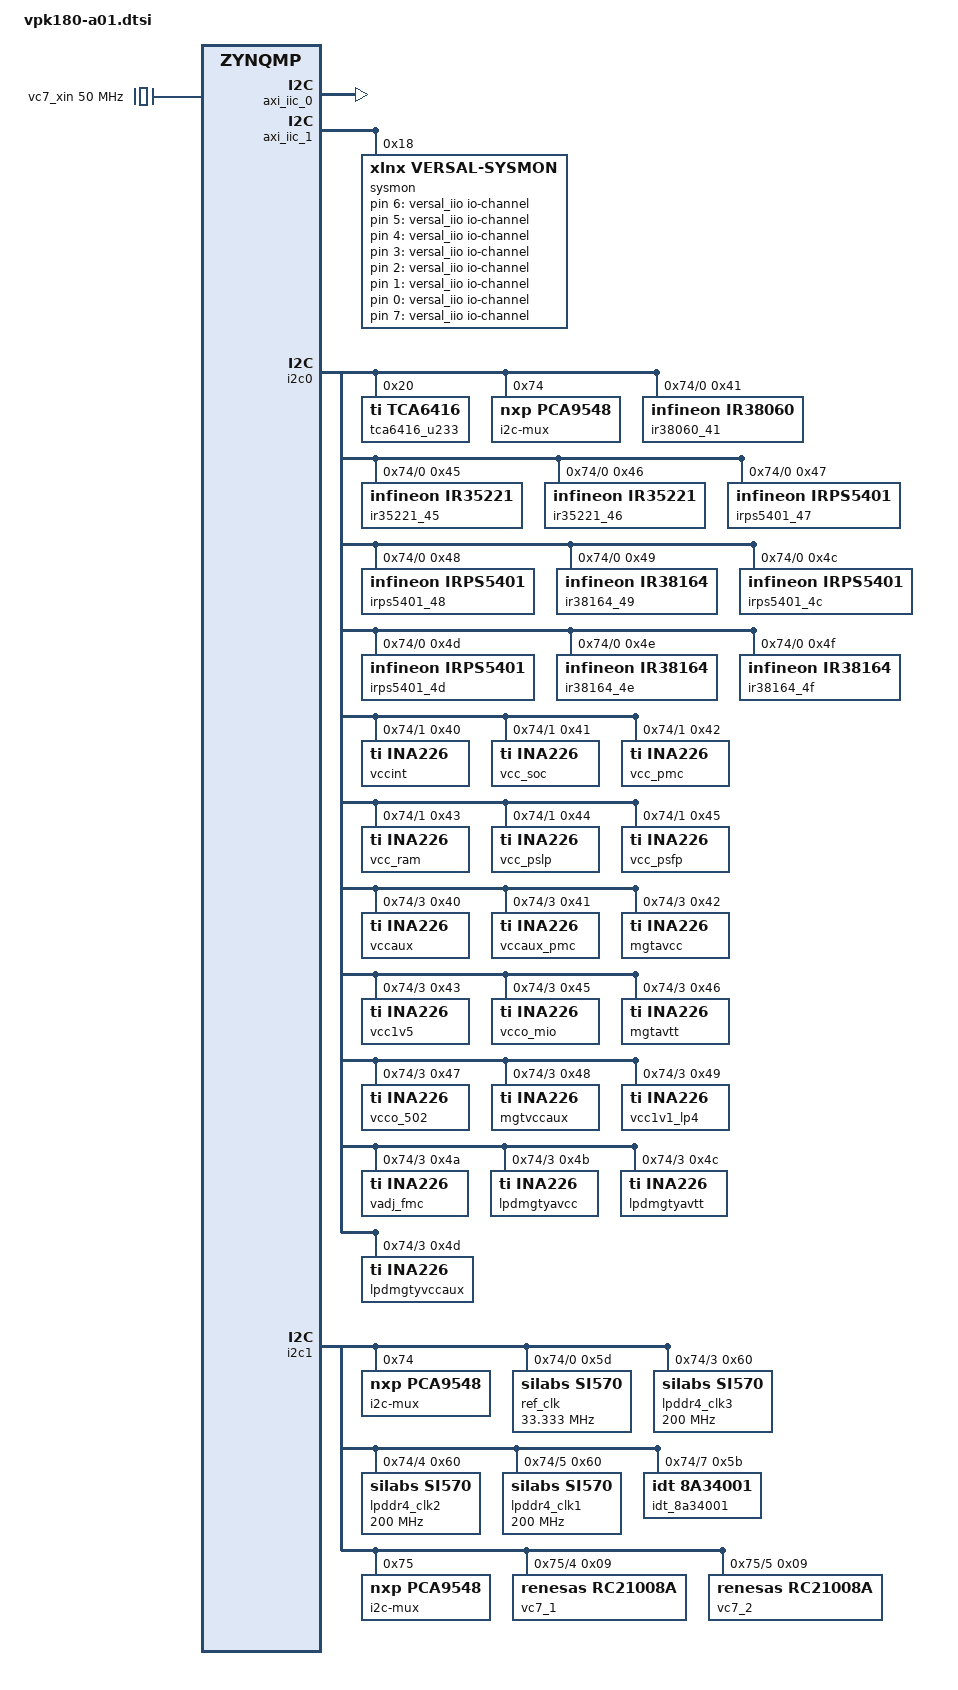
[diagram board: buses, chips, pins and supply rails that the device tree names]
// SPDX-License-Identifier: GPL-2.0
/*
 * dts file for Xilinx ZynqMP VPK180 revA
 *
 * (C) Copyright 2021 - 2022, Xilinx, Inc.
 *
 */

/dts-v1/;
/plugin/;
/ {
	compatible = "xlnx,zynqmp-sc-vpk180-revA", "xlnx,zynqmp-vpk180-revA",
		     "xlnx,zynqmp-sc-vpk180-revB", "xlnx,zynqmp-vpk180-revB",
		     "xlnx,zynqmp-vpk180", "xlnx,zynqmp";
			 
	fragment@0 {
		target = <&fpga_full>;
		overlay0: __overlay__ {
			#address-cells = <2>;
			#size-cells = <2>;
			firmware-name = "vpk180-a01.bit.bin";
			resets = <&zynqmp_reset 116>;
		};
	};
	fragment@1 {
		target = <&amba>;
		overlay1: __overlay__ {
			afi0: afi0 {
				compatible = "xlnx,afi-fpga";
				config-afi = < 0 0>, <1 0>, <2 0>, <3 0>, <4 0>, <5 0>, <6 0>, <7 0>, <8 0>, <9 0>, <10 0>, <11 0>, <12 0>, <13 0>, <14 0xa00>, <15 0x000>;
			};
			clocking0: clocking0 {
				#clock-cells = <0>;
				assigned-clock-rates = <96968727>;
				assigned-clocks = <&zynqmp_clk 71>;
				clock-output-names = "fabric_clk";
				clocks = <&zynqmp_clk 71>;
				compatible = "xlnx,fclk";
			};
			clocking1: clocking1 {
				#clock-cells = <0>;
				assigned-clock-rates = <266664000>;
				assigned-clocks = <&zynqmp_clk 72>;
				clock-output-names = "fabric_clk";
				clocks = <&zynqmp_clk 72>;
				compatible = "xlnx,fclk";
			};
		};
	};
	fragment@2 {
		target = <&amba>;
		overlay2: __overlay__ {
			#address-cells = <2>;
			#size-cells = <2>;
			axi_gpio_0: gpio@80020000 {
				#gpio-cells = <2>;
				#interrupt-cells = <2>;
				clock-names = "s_axi_aclk";
				clocks = <&zynqmp_clk 71>;
				compatible = "xlnx,axi-gpio-2.0", "xlnx,xps-gpio-1.00.a";
				gpio-controller ;
				interrupt-controller ;
				interrupt-names = "ip2intc_irpt";
				interrupt-parent = <&gic>;
				interrupts = <0 94 4>;
				reg = <0x0 0x80020000 0x0 0x10000>;
				xlnx,all-inputs = <0x0>;
				xlnx,all-inputs-2 = <0x0>;
				xlnx,all-outputs = <0x0>;
				xlnx,all-outputs-2 = <0x0>;
				xlnx,dout-default = <0x00000000>;
				xlnx,dout-default-2 = <0x00000000>;
				xlnx,gpio-width = <0x12>;
				xlnx,gpio2-width = <0x20>;
				xlnx,interrupt-present = <0x1>;
				xlnx,is-dual = <0x0>;
				xlnx,tri-default = <0xFFFFFFFF>;
				xlnx,tri-default-2 = <0xFFFFFFFF>;
				gpio-line-names = "SYSCTLR_GPIO0", "SYSCTLR_GPIO1", "SYSCTLR_GPIO2",	/* 0 - 2 */
				"SYSCTLR_GPIO3", "SYSCTLR_GPIO4", "SYSCTLR_GPIO5",	/* 3 - 5 */
				"SYSCTLR_GPIO6", "SYSCTLR_GPIO7", "SYSCTLR_GPIO8",	/* 6 - 8 */
				"SYSCTLR_GPIO9", "SYSCTLR_GPIO10", "SYSCTLR_GPIO11",	/* 9 - 11 */
				"SYSCTLR_GPIO12", "SYSCTLR_GPIO13", "SYSCTLR_GPIO14",	/* 12 - 14 */
				"SYSCTLR_GPIO15", "SYSCTLR_IIC_MUX1_RESET_B",		/* 15 - 16 */
				"SYSCTLR_IIC_MUX0_RESET_B";				/* 17 */
			};
			axi_gpio_1: gpio@80030000 {
				#gpio-cells = <2>;
				#interrupt-cells = <2>;
				clock-names = "s_axi_aclk";
				clocks = <&zynqmp_clk 71>;
				compatible = "xlnx,axi-gpio-2.0", "xlnx,xps-gpio-1.00.a";
				gpio-controller ;
				interrupt-controller ;
				interrupt-names = "ip2intc_irpt";
				interrupt-parent = <&gic>;
				interrupts = <0 96 4>;
				reg = <0x0 0x80030000 0x0 0x10000>;
				xlnx,all-inputs = <0x0>;
				xlnx,all-inputs-2 = <0x0>;
				xlnx,all-outputs = <0x0>;
				xlnx,all-outputs-2 = <0x0>;
				xlnx,dout-default = <0x00000000>;
				xlnx,dout-default-2 = <0x00000000>;
				xlnx,gpio-width = <0x3>;
				xlnx,gpio2-width = <0x20>;
				xlnx,interrupt-present = <0x1>;
				xlnx,is-dual = <0x0>;
				xlnx,tri-default = <0xFFFFFFFF>;
				xlnx,tri-default-2 = <0xFFFFFFFF>;
				gpio-line-names = "PMBUS2_INA226_ALERT", "PMBUS1_INA226_ALERT",	/* 0 - 1 */
				"PMBUS_ALERT";						/* 2 */
			};
			axi_gpio_2: gpio@80040000 {
				#gpio-cells = <2>;
				#interrupt-cells = <2>;
				clock-names = "s_axi_aclk";
				clocks = <&zynqmp_clk 71>;
				compatible = "xlnx,axi-gpio-2.0", "xlnx,xps-gpio-1.00.a";
				gpio-controller ;
				interrupt-controller ;
				interrupt-names = "ip2intc_irpt";
				interrupt-parent = <&gic>;
				interrupts = <0 95 4>;
				reg = <0x0 0x80040000 0x0 0x10000>;
				xlnx,all-inputs = <0x0>;
				xlnx,all-inputs-2 = <0x0>;
				xlnx,all-outputs = <0x0>;
				xlnx,all-outputs-2 = <0x0>;
				xlnx,dout-default = <0x00000000>;
				xlnx,dout-default-2 = <0x00000000>;
				xlnx,gpio-width = <0xd>;
				xlnx,gpio2-width = <0x20>;
				xlnx,interrupt-present = <0x1>;
				xlnx,is-dual = <0x0>;
				xlnx,tri-default = <0xFFFFFFFF>;
				xlnx,tri-default-2 = <0xFFFFFFFF>;
				gpio-line-names = "SYSCTLR_JTAG_S1", "SYSCTLR_JTAG_S0",		/* 0 - 1 */
				"SYSCTLR_VERSAL_MODE3", "SYSCTLR_VERSAL_MODE2",		/* 2 - 3 */
				"SYSCTLR_VERSAL_MODE1", "SYSCTLR_VERSAL_MODE0",		/* 4 - 5 */
				"SYSCTLR_POR_B_LS", "SYSCTLR_VERSAL_MODE3_READBACK",	/* 6 - 7 */
				"SYSCTLR_VERSAL_MODE2_READBACK", "SYSCTLR_VERSAL_MODE1_READBACK",	/* 8 - 9 */
				"SYSCTLR_VERSAL_MODE0_READBACK", "SYSCTLR_VERSAL_POR_B_READBACK",	/* 10 - 11 */
				"VERSAL_ERROR_OUT_LS";					/* 12 */
			};
			axi_iic_0: i2c@80050000 {
				#address-cells = <1>;
				#size-cells = <0>;
				clock-names = "s_axi_aclk";
				clocks = <&zynqmp_clk 71>;
				compatible = "xlnx,axi-iic-2.1", "xlnx,xps-iic-2.00.a";
				interrupt-names = "iic2intc_irpt";
				interrupt-parent = <&gic>;
				interrupts = <0 91 4>;
				reg = <0x0 0x80050000 0x0 0x10000>;
			};
			axi_iic_1: i2c@80060000 {
				#address-cells = <1>;
				#size-cells = <0>;
				clock-names = "s_axi_aclk";
				clocks = <&zynqmp_clk 71>;
				compatible = "xlnx,axi-iic-2.1", "xlnx,xps-iic-2.00.a";
				interrupt-names = "iic2intc_irpt";
				interrupt-parent = <&gic>;
				interrupts = <0 92 4>;
				reg = <0x0 0x80060000 0x0 0x10000>;
				sysmon: i2c@18 {
					#address-cells = <1>;
					#size-cells = <0>;
					compatible = "xlnx,versal-sysmon";
					reg = <0x18>;
					xlnx,numchannels = [07];
					status = "okay";
					#io-channel-cells = <1>;
					xlnx,scaledint;
					supply@0 {
						reg = <0>;
						xlnx,name = "vccaux";
					};
					supply@1 {
						reg = <1>;
						xlnx,name = "vccaux_pmc";
					};
					supply@2 {
						reg = <2>;
						xlnx,name = "vcc_pmc";
					};
					supply@3 {
						reg = <3>;
						xlnx,name = "vcc_psfp";
					};
					supply@4 {
						reg = <4>;
						xlnx,name = "vcc_pslp";
					};
					supply@5 {
						reg = <5>;
						xlnx,name = "vcc_soc";
					};
					supply@6 {
						reg = <6>;
						xlnx,name = "vp_vn";
					};
				};
			};
			debug_bridge_0: debug_bridge@80010000 {
				clock-names = "s_axi_aclk";
				clocks = <&zynqmp_clk 71>;
				compatible = "xlnx,debug-bridge-3.0", "generic-uio";
				reg = <0x0 0x80010000 0x0 0x10000>;
				xlnx,bscan-mux = <0x1>;
				xlnx,build-revision = <0x0>;
				xlnx,chip-id = <0x0>;
				xlnx,clk-input-freq-hz = <0x11e1a300>;
				xlnx,core-major-ver = <0x1>;
				xlnx,core-minor-alpha-ver = <0x61>;
				xlnx,core-minor-ver = <0x0>;
				xlnx,core-type = <0x1>;
				xlnx,dclk-has-reset = <0x0>;
				xlnx,debug-mode = <0x3>;
				xlnx,design-type = <0x0>;
				xlnx,device-family = <0x0>;
				xlnx,en-bscanid-vec = "false";
				xlnx,en-int-sim = <0x1>;
				xlnx,en-passthrough = <0x0>;
				xlnx,enable-clk-divider = "false";
				xlnx,fifo-style = "SUBCORE";
				xlnx,ir-id-instr = <0x0>;
				xlnx,ir-user1-instr = <0x0>;
				xlnx,ir-width = <0x0>;
				xlnx,major-version = <0xe>;
				xlnx,master-intf-type = <0x1>;
				xlnx,minor-version = <0x1>;
				xlnx,num-bs-master = <0x0>;
				xlnx,pcie-ext-cfg-base-addr = <0x400>;
				xlnx,pcie-ext-cfg-next-ptr = <0x000>;
				xlnx,pcie-ext-cfg-vsec-id = <0x0008>;
				xlnx,pcie-ext-cfg-vsec-length = <0x020>;
				xlnx,pcie-ext-cfg-vsec-rev-id = <0x0>;
				xlnx,tck-clock-ratio = <0x8>;
				xlnx,two-prim-mode = "false";
				xlnx,use-bufr = <0x0>;
				xlnx,use-ext-bscan = "true";
				xlnx,use-softbscan = <0x1>;
				xlnx,use-startup-clk = "false";
				xlnx,user-scan-chain = <0x1>;
				xlnx,xsdb-num-slaves = <0x0>;
				xlnx,xvc-hw-id = <0x0001>;
				xlnx,xvc-sw-id = <0x0001>;
			};
			fan_tach_0: fan_tach@80080000 {
				clock-names = "clk";
				clocks = <&zynqmp_clk 71>;
				compatible = "xlnx,fan-tach-1.0";
				interrupt-names = "interrupt_fan_fail", "interrupt_pwm_det";
				interrupt-parent = <&gic>;
				interrupts = <0 89 4 0 90 4>;
				reg = <0x0 0x80080000 0x0 0x1000 0x0 0x80081000 0x0 0x1000 0x0 0x80082000 0x0 0x1000>;
			};
			hsdp_axi_bram_ctrl_1: axi_bram_ctrl@a0020000 {
				clock-names = "s_axi_aclk";
				clocks = <&zynqmp_clk 72>;
				compatible = "xlnx,axi-bram-ctrl-4.1";
				reg = <0x0 0xa0020000 0x0 0x4000>;
				xlnx,bram-addr-width = <0xa>;
				xlnx,bram-inst-mode = "EXTERNAL";
				xlnx,ecc = <0x0>;
				xlnx,ecc-onoff-reset-value = <0x0>;
				xlnx,ecc-type = <0x0>;
				xlnx,fault-inject = <0x0>;
				xlnx,memory-depth = <0x400>;
				xlnx,rd-cmd-optimization = <0x0>;
				xlnx,read-latency = <0x1>;
				xlnx,s-axi-ctrl-addr-width = <0x20>;
				xlnx,s-axi-ctrl-data-width = <0x20>;
				xlnx,s-axi-id-width = <0x1>;
				xlnx,s-axi-supports-narrow-burst = <0x0>;
				xlnx,single-port-bram = <0x1>;
			};
			hsdp_axi_dma_0: dma@a0000000 {
				#dma-cells = <1>;
				clock-names = "s_axi_lite_aclk", "m_axi_sg_aclk", "m_axi_mm2s_aclk", "m_axi_s2mm_aclk";
				clocks = <&zynqmp_clk 72>, <&zynqmp_clk 72>, <&zynqmp_clk 72>, <&zynqmp_clk 72>;
				compatible = "xlnx,axi-dma-7.1", "xlnx,axi-dma-1.00.a";
				interrupt-names = "mm2s_introut", "s2mm_introut";
				interrupt-parent = <&gic>;
				interrupts = <0 104 4 0 105 4>;
				reg = <0x0 0xa0000000 0x0 0x10000>;
				xlnx,addrwidth = <0x30>;
				xlnx,include-sg ;
				xlnx,sg-length-width = <0x1a>;
				dma-channel@a0000000 {
					compatible = "xlnx,axi-dma-mm2s-channel";
					dma-channels = <0x1>;
					interrupts = <0 104 4>;
					xlnx,datawidth = <0x80>;
					xlnx,device-id = <0x0>;
				};
				dma-channel@a0000030 {
					compatible = "xlnx,axi-dma-s2mm-channel";
					dma-channels = <0x1>;
					interrupts = <0 105 4>;
					xlnx,datawidth = <0x40>;
					xlnx,device-id = <0x0>;
				};
			};
			hsdp_hsdp_ctl_stat_regs: hsdp_ctl_v1_0@a0010000 {
				clock-names = "s00_axi_hsdp_aclk";
				clocks = <&zynqmp_clk 72>;
				compatible = "xlnx,hsdp-ctl-v1-0-1.0";
				reg = <0x0 0xa0010000 0x0 0x10000>;
				xlnx,prog-empty-cnt-width = <0x20>;
				xlnx,s00-axi-hsdp-addr-width = <0x6>;
				xlnx,s00-axi-hsdp-data-width = <0x20>;
				xlnx,tlast-prog-width = <0x17>;
			};
		};
	};
	
	fragment@3 {
		  target-path = "/";
                __overlay__ {
	versal_iio: versal {
		compatible = "iio-hwmon";
		io-channels = <&sysmon 6>, <&sysmon 5>, <&sysmon 4>,
			      <&sysmon 3>, <&sysmon 2>, <&sysmon 1>,
			      <&sysmon 0>, <&sysmon 7>, <&sysmon 8>;
	};
	si570_ref_clk: si570_ref_clk {
		status = "okay";
		compatible = "xlnx,fclk";
		clocks = <&ref_clk>;
	};

	si570_lpddr4_clk3: si570_lpddr4_clk3 {
		status = "okay";
		compatible = "xlnx,fclk";
		clocks = <&lpddr4_clk3>;
	};

	si570_lpddr4_clk2: si570_lpddr4_clk2 {
		status = "okay";
		compatible = "xlnx,fclk";
		clocks = <&lpddr4_clk2>;
	};

	si570_lpddr4_clk1: si570_lpddr4_clk1 {
		status = "okay";
		compatible = "xlnx,fclk";
		clocks = <&lpddr4_clk1>;
	};

	vc7_xin: vc7-xin {
		compatible = "fixed-clock";
		#clock-cells = <0x0>;
		clock-frequency = <50000000>;
	};

	gtclk1_out0: gtclk1-out0 {
		status = "okay";
		compatible = "xlnx,fclk";
		clocks = <&vc7_1 0>;
	};

	gtclk1_out1: gtclk1-out1 {
		status = "okay";
		compatible = "xlnx,fclk";
		clocks = <&vc7_1 1>;
	};

	gtclk1_out2: gtclk1-out2 {
		status = "okay";
		compatible = "xlnx,fclk";
		clocks = <&vc7_1 2>;
	};

	gtclk1_out3: gtclk1-out3 {
		status = "okay";
		compatible = "xlnx,fclk";
		clocks = <&vc7_1 3>;
	};

	gtclk1_out4: gtclk1-out4 {
		status = "okay";
		compatible = "xlnx,fclk";
		clocks = <&vc7_1 4>;
	};

	gtclk1_out5: gtclk1-out5 {
		status = "okay";
		compatible = "xlnx,fclk";
		clocks = <&vc7_1 5>;
	};

	gtclk1_out6: gtclk1-out6 {
		status = "okay";
		compatible = "xlnx,fclk";
		clocks = <&vc7_1 6>;
	};

	gtclk1_out7: gtclk1-out7 {
		status = "okay";
		compatible = "xlnx,fclk";
		clocks = <&vc7_1 7>;
	};

	gtclk2_out0: gtclk2-out0 {
		status = "okay";
		compatible = "xlnx,fclk";
		clocks = <&vc7_2 0>;
	};

	gtclk2_out1: gtclk2-out1 {
		status = "okay";
		compatible = "xlnx,fclk";
		clocks = <&vc7_2 1>;
	};

	gtclk2_out2: gtclk2-out2 {
		status = "okay";
		compatible = "xlnx,fclk";
		clocks = <&vc7_2 2>;
	};

	gtclk2_out3: gtclk2-out3 {
		status = "okay";
		compatible = "xlnx,fclk";
		clocks = <&vc7_2 3>;
	};

	gtclk2_out4: gtclk2-out4 {
		status = "okay";
		compatible = "xlnx,fclk";
		clocks = <&vc7_2 4>;
	};

	gtclk2_out5: gtclk2-out5 {
		status = "okay";
		compatible = "xlnx,fclk";
		clocks = <&vc7_2 5>;
	};

	gtclk2_out6: gtclk2-out6 {
		status = "okay";
		compatible = "xlnx,fclk";
		clocks = <&vc7_2 6>;
	};

	gtclk2_out7: gtclk2-out7 {
		status = "okay";
		compatible = "xlnx,fclk";
		clocks = <&vc7_2 7>;
	};
};
};


	fragment@4 {
                target = <&i2c0>;
                __overlay__ {
	#address-cells = <1>;
	#size-cells = <0>;
	
	tca6416_u233: gpio@20 { /* u233 */
		compatible = "ti,tca6416";
		reg = <0x20>;
		gpio-controller; /* interrupt not connected */
		#gpio-cells = <2>;
		gpio-line-names = "QSFPDD1_MODSELL", "QSFPDD2_MODSELL", "QSFPDD3_MODSELL", "QSFPDD4_MODSELL", /* 0 - 3 */
				"PMBUS2_INA226_ALERT", "QSFPDD5_MODSELL", "QSFPDD6_MODSELL", "", /* 4 - 7 */
				"FMCP1_FMC_PRSNT_M2C_B", "", "FMCP1_FMCP_PRSNT_M2C_B", "", /* 10 - 13 */
				"VCCINT_VRHOT_B", "8A34001_EXP_RST_B", "PMBUS_ALERT", "PMBUS1_INA226_ALERT"; /* 14 - 17 */
	};

	i2c-mux@74 { /* u33 */
		compatible = "nxp,pca9548";
		#address-cells = <1>;
		#size-cells = <0>;
		reg = <0x74>;
		/* reset-gpios = <&gpio SYSCTLR_IIC_MUX0_RESET_B GPIO_ACTIVE_HIGH>; */
		pmbus_i2c: i2c@0 {
			#address-cells = <1>;
			#size-cells = <0>;
			reg = <0>;
			/* On connector J325 */
			ir38060_41: regulator@41 { /* IR38060 - u259 */
				compatible = "infineon,ir38060", "infineon,ir38064";
				reg = <0x41>; /* i2c addr 0x11 */
			};
			ir35221_45: pmic@45 { /* IR35221 - u291 */
				compatible = "infineon,ir35221";
				reg = <0x45>; /* i2c addr - 0x15 */
			};
			ir35221_46: pmic@46 { /* IR35221 - u152 */
				compatible = "infineon,ir35221";
				reg = <0x46>; /* i2c addr - 0x16 */
			};
			irps5401_47: pmic5401@47 { /* IRPS5401 - u160 */
				compatible = "infineon,irps5401";
				reg = <0x47>; /* i2c addr 0x17 */
			};
			irps5401_48: pmic@48 { /* IRPS5401 - u295 */
				compatible = "infineon,irps5401";
				reg = <0x48>; /* i2c addr 0x18 */
			};
			ir38164_49: regulator@49 { /* IR38164 - u189 */
				compatible = "infineon,ir38164";
				reg = <0x49>; /* i2c addr 0x19 */
			};
			irps5401_4c: pmic@4c { /* IRPS5401 - u167 */
				compatible = "infineon,irps5401";
				reg = <0x4c>; /* i2c addr 0x1c */
			};
			irps5401_4d: pmic@4d { /* IRPS5401 - u175 */
				compatible = "infineon,irps5401";
				reg = <0x4d>; /* i2c addr 0x1d */
			};
			ir38164_4e: regulator@4e { /* IR38164 - u185 */
				compatible = "infineon,ir38164";
				reg = <0x4e>; /* i2c addr 0x1e */
			};
			ir38164_4f: regulator@4f { /* IR38164 - u187 */
				compatible = "infineon,ir38164";
				reg = <0x4f>; /* i2c addr 0x1f */
			};
		};
		pmbus1_ina226_i2c: i2c@1 {
			#address-cells = <1>;
			#size-cells = <0>;
			reg = <1>;
			/* FIXME check alerts coming to SC */
			vccint: ina226@40 { /* u65 */
				compatible = "ti,ina226";
				reg = <0x40>;
				shunt-resistor = <5000>; /* r440 */
			};
			vcc_soc: ina226@41 { /* u161 */
				compatible = "ti,ina226";
				reg = <0x41>;
				shunt-resistor = <5000>; /* r2174 */
			};
			vcc_pmc: ina226@42 { /* u163 */
				compatible = "ti,ina226";
				reg = <0x42>;
				shunt-resistor = <5000>; /* r1214 */
			};
			vcc_ram: ina226@43 { /* u5 */
				compatible = "ti,ina226";
				reg = <0x43>;
				shunt-resistor = <5000>; /* r2108 */
			};
			vcc_pslp: ina226@44 { /* u165 */
				compatible = "ti,ina226";
				reg = <0x44>;
				shunt-resistor = <5000>; /* r1830 */
			};
			vcc_psfp: ina226@45 { /* u164 */
				compatible = "ti,ina226";
				reg = <0x45>;
				shunt-resistor = <5000>; /* r2086 */
			};
		};
		i2c@2 { /* NC */ /* FIXME maybe remove */
			#address-cells = <1>;
			#size-cells = <0>;
			reg = <2>;
		};
		pmbus2_ina226_i2c: i2c@3 {
			#address-cells = <1>;
			#size-cells = <0>;
			reg = <3>;
			/* FIXME check alerts coming to SC */
			vccaux: ina226@40 { /* u166 */
				compatible = "ti,ina226";
				reg = <0x40>;
				shunt-resistor = <2000>; /* r2109 */
			};
			vccaux_pmc: ina226@41 { /* u168 */
				compatible = "ti,ina226";
				reg = <0x41>;
				shunt-resistor = <5000>; /* r1246 */
			};
			mgtavcc: ina226@42 { /* u265 */
				compatible = "ti,ina226";
				reg = <0x42>;
				shunt-resistor = <5000>; /* r1829 */
			};
			vcc1v5: ina226@43 { /* u264 */
				compatible = "ti,ina226";
				reg = <0x43>;
				shunt-resistor = <5000>; /* r1221 */
			};
			vcco_mio: ina226@45 { /* u172 */
				compatible = "ti,ina226";
				reg = <0x45>;
				shunt-resistor = <5000>; /* r1219 */
			};
			mgtavtt: ina226@46 { /* u188 */
				compatible = "ti,ina226";
				reg = <0x46>;
				shunt-resistor = <2000>; /* r1384 */
			};
			vcco_502: ina226@47 { /* u174 */
				compatible = "ti,ina226";
				reg = <0x47>;
				shunt-resistor = <5000>; /* r1825 */
			};
			mgtvccaux: ina226@48 { /* u176 */
				compatible = "ti,ina226";
				reg = <0x48>;
				shunt-resistor = <5000>; /* r1232 */
			};
			vcc1v1_lp4: ina226@49 { /* u186 */
				compatible = "ti,ina226";
				reg = <0x49>;
				shunt-resistor = <2000>; /* r1367 */
			};
			vadj_fmc: ina226@4a { /* u184 */
				compatible = "ti,ina226";
				reg = <0x4a>;
				shunt-resistor = <2000>; /* r1350 */
			};
			lpdmgtyavcc: ina226@4b { /* u177 */
				compatible = "ti,ina226";
				reg = <0x4b>;
				shunt-resistor = <5000>; /* r2097 */
			};
			lpdmgtyavtt: ina226@4c { /* u260 */
				compatible = "ti,ina226";
				reg = <0x4c>;
				shunt-resistor = <2000>; /* r1834 */
			};
			lpdmgtyvccaux: ina226@4d { /* u234 */
				compatible = "ti,ina226";
				reg = <0x4d>;
				shunt-resistor = <5000>; /* r1679 */
			};
		};
		/* 4 - 7 unused */
	};
};
};

	fragment@5 {
                target = <&i2c1>;
                __overlay__ {
	#address-cells = <1>;
	#size-cells = <0>;

	i2c-mux@74 { /* u35 */
		compatible = "nxp,pca9548";
		#address-cells = <1>;
		#size-cells = <0>;
		reg = <0x74>;
		i2c-mux-idle-disconnect;
		/* reset-gpios = <&PL_GPIO SYSCTLR_IIC_MUX1_RESET_B GPIO_ACTIVE_HIGH>; */
		ref_clk_i2c: i2c@0 {
			#address-cells = <1>;
			#size-cells = <0>;
			reg = <0>;
			ref_clk: clock-generator@5d { /* u32 */
				#clock-cells = <0>;
				compatible = "silabs,si570";
				reg = <0x5d>;
				temperature-stability = <50>;
				factory-fout = <33333333>;
				clock-frequency = <33333333>;
				clock-output-names = "ref_clk";
				silabs,skip-recall;
			};
		};
		fmcp1_i2c: i2c@1 {
			#address-cells = <1>;
			#size-cells = <0>;
			reg = <1>;
			/* connection to Samtec J51C */
			/* expected eeprom 0x50 SE cards */
		};
		osfp_i2c: i2c@2 {
			#address-cells = <1>;
			#size-cells = <0>;
			reg = <2>;
			/* J362 connector */
		};
		lpddr4_si570_clk3_i2c: i2c@3 {
			#address-cells = <1>;
			#size-cells = <0>;
			reg = <3>;
			lpddr4_clk3: clock-generator@60 { /* u4 */
				#clock-cells = <0>;
				compatible = "silabs,si570";
				reg = <0x60>;
				temperature-stability = <50>;
				factory-fout = <200000000>;
				clock-frequency = <200000000>;
				clock-output-names = "lpddr4_clk3";
				silabs,skip-recall;
			};
			/* alternative option DNP - u305 at 0x50 */
		};
		lpddr4_si570_clk2_i2c: i2c@4 {
			#address-cells = <1>;
			#size-cells = <0>;
			reg = <4>;
			lpddr4_clk2: clock-generator@60 { /* u3 */
				#clock-cells = <0>;
				compatible = "silabs,si570";
				reg = <0x60>;
				temperature-stability = <50>;
				factory-fout = <200000000>;
				clock-frequency = <200000000>;
				clock-output-names = "lpddr4_clk2";
				silabs,skip-recall;
			};
			/* alternative option DNP - u303 at 0x50 */
		};
		lpddr4_si570_clk1_i2c: i2c@5 {
			#address-cells = <1>;
			#size-cells = <0>;
			reg = <5>;
			lpddr4_clk1: clock-generator@60 { /* u248 */
				#clock-cells = <0>;
				compatible = "silabs,si570";
				reg = <0x60>;
				temperature-stability = <50>;
				factory-fout = <200000000>;
				clock-frequency = <200000000>;
				clock-output-names = "lpddr4_clk1";
				silabs,skip-recall;
			};
			/* alternative option DNP - u301 at 0x50 */
		};
		qsfpdd_i2c: i2c@6 {
			#address-cells = <1>;
			#size-cells = <0>;
			reg = <6>;
			/* J1/J2/J355/J354/J359/J358 connectors */
		};
		idt8a34001_i2c: i2c@7 {
			#address-cells = <1>;
			#size-cells = <0>;
			reg = <7>;
			/* Via J310 connector */
			idt_8a34001: phc@5b { /* u219B */
				compatible = "idt,8a34001";
				reg = <0x5b>;
			};
		};
	};
	i2c-mux@75 { /* u322 */
		compatible = "nxp,pca9548";
		#address-cells = <1>;
		#size-cells = <0>;
		reg = <0x75>;
		i2c-mux-idle-disconnect;
		/* reset-gpios = <&PL_GPIO SYSCTLR_IIC_MUX1_RESET_B GPIO_ACTIVE_HIGH>; */
		sfpdd1_i2c: i2c@0 {
			#address-cells = <1>;
			#size-cells = <0>;
			reg = <0>;
			/* J350 sfp-dd at 0x50 */
		};
		sfpdd2_i2c: i2c@1 {
			#address-cells = <1>;
			#size-cells = <0>;
			reg = <1>;
			/* J352 sfp-dd at 0x50 */
		};
		sfpdd3_i2c: i2c@2 {
			#address-cells = <1>;
			#size-cells = <0>;
			reg = <2>;
			/* J385 sfp-dd at 0x50 */
		};
		sfpdd4_i2c: i2c@3 {
			#address-cells = <1>;
			#size-cells = <0>;
			reg = <3>;
			/* J387 sfp-dd at 0x50 */
		};
		rc21008a_gtclk1_i2c: i2c@4 {
			#address-cells = <1>;
			#size-cells = <0>;
			reg = <4>;
			vc7_1: clock-generator@9 {
				compatible = "renesas,rc21008a";
				clock-output-names = "rc21008a-0";
				reg = <0x9>;
				#clock-cells = <1>;
				clocks = <&vc7_xin>;
				clock-names = "xin";
			};
			/* u298 - rc21008a at 0x9 */
			/* connector J370 */
		};
		rc21008a_gtclk2_i2c: i2c@5 {
			#address-cells = <1>;
			#size-cells = <0>;
			reg = <5>;
			vc7_2: clock-generator@9 {
				compatible = "renesas,rc21008a";
				clock-output-names = "rc21008a-1";
				reg = <0x9>;
				#clock-cells = <1>;
				clocks = <&vc7_xin>;
				clock-names = "xin";
			};
			/* u299 - rc21008a at 0x9 */
			/* connector J371 */
		};
	};
};
};
};
